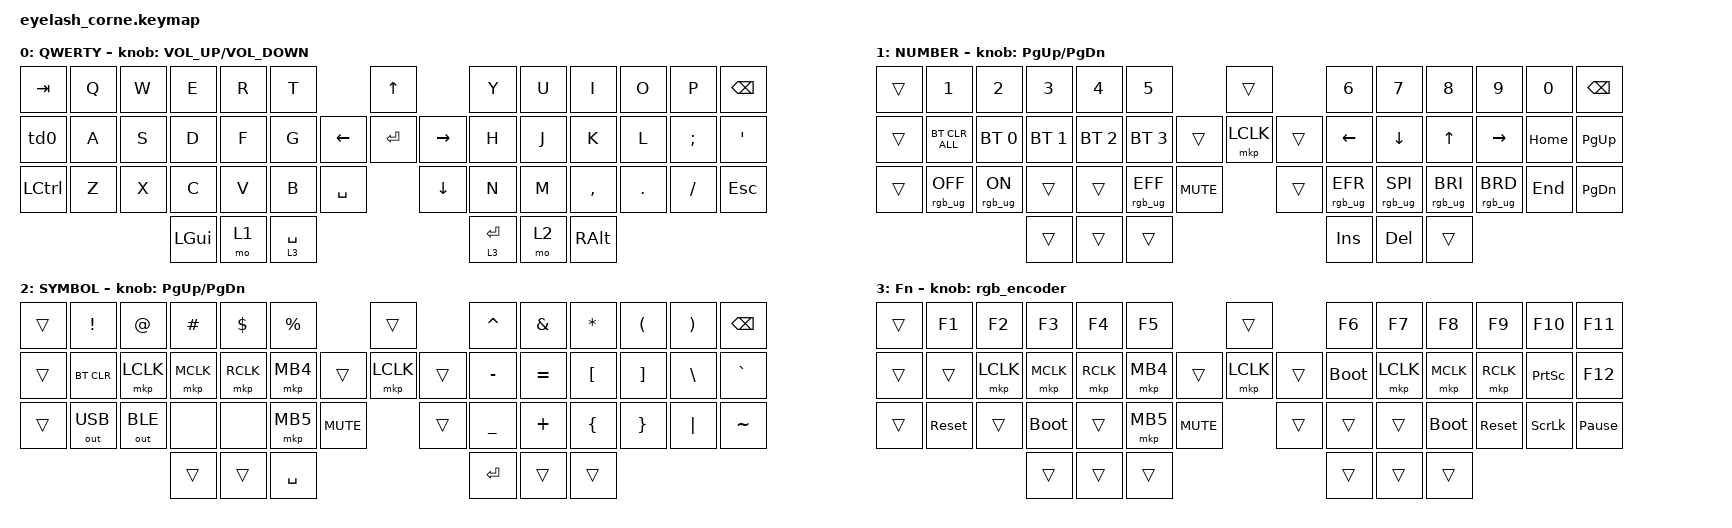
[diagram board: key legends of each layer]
#include <behaviors.dtsi>
#include <dt-bindings/zmk/bt.h>
#include <dt-bindings/zmk/keys.h>
#include <dt-bindings/zmk/mouse.h>
#include <dt-bindings/zmk/outputs.h>
#include <dt-bindings/zmk/rgb.h>

/ {
    behaviors {
        td0: td0 {
            compatible = "zmk,behavior-tap-dance";
            #binding-cells = <0>;
            bindings = <&kp LEFT_SHIFT>, <&kp CAPS>;
        };
    };

    rgb_encoder: rgb_encoder {
        compatible = "zmk,behavior-sensor-rotate";
        #sensor-binding-cells = <0>;
        bindings = <&rgb_ug RGB_BRI>, <&rgb_ug RGB_BRD>;
    };

    keymap {
        compatible = "zmk,keymap";

        default_layer {
            display-name = "QWERTY";

            bindings = <
//        ┌──────┬───┬───┬──────┬──────┬──────────┐            ┌──────┐      ┌──────────┬──────┬──────┬───┬───┬──────┐
//        │ tab  │ Q │ W │  E   │  R   │    T     │            │  up  │      │    Y     │  U   │  I   │ O │ P │ bspc │
//        ├──────┼───┼───┼──────┼──────┼──────────┤     ┌──────┼──────┼──────┼──────────┼──────┼──────┼───┼───┼──────┤
//        │ &td0 │ A │ S │  D   │  F   │    G     │     │ left │ ent  │ rght │    H     │  J   │  K   │ L │ ; │  '   │
//        ├──────┼───┼───┼──────┼──────┼──────────┼─────┼──────┼──────┼──────┼──────────┼──────┼──────┼───┼───┼──────┤
//        │ lctl │ Z │ X │  C   │  V   │    B     │ spc │      │ down │      │    N     │  M   │  ,   │ . │ / │ esc  │
//        └──────┴───┴───┼──────┼──────┼──────────┼─────┘      └──────┘      ├──────────┼──────┼──────┼───┴───┴──────┘
//                       │ lgui │ mo 1 │ lt 3 spc │                          │ lt 3 ent │ mo 2 │ ralt │
//                       └──────┴──────┴──────────┘                          └──────────┴──────┴──────┘
      &kp TAB     &kp Q   &kp W   &kp E      &kp R   &kp T                                &kp UP                  &kp Y         &kp U   &kp I       &kp O     &kp P      &kp BSPC
      &td0        &kp A   &kp S   &kp D      &kp F   &kp G                     &kp LEFT   &kp ENTER   &kp RIGHT   &kp H         &kp J   &kp K       &kp L     &kp SEMI   &kp SQT
      &kp LCTRL   &kp Z   &kp X   &kp C      &kp V   &kp B         &kp SPACE              &kp DOWN                &kp N         &kp M   &kp COMMA   &kp DOT   &kp FSLH   &kp ESC
                                  &kp LGUI   &mo 1   &lt 3 SPACE                                                  &lt 3 ENTER   &mo 2   &kp RALT
            >;

            sensor-bindings = <&inc_dec_kp C_VOLUME_UP C_VOLUME_DOWN>;
        };

        lower_layer {
            display-name = "NUMBER";
            bindings = <
//        ┌─────┬────────────┬──────────┬──────────┬──────────┬──────────┐            ┌──────┐     ┌─────────┬─────────┬─────────┬─────────┬──────┬──────┐
//        │     │     1      │    2     │    3     │    4     │    5     │            │      │     │    6    │    7    │    8    │    9    │  0   │ bspc │
//        ├─────┼────────────┼──────────┼──────────┼──────────┼──────────┤      ┌─────┼──────┼─────┼─────────┼─────────┼─────────┼─────────┼──────┼──────┤
//        │     │ bt_clr_ALL │ bt_sel 0 │ bt_sel 1 │ bt_sel 2 │ bt_sel 3 │      │     │ lclk │     │  left   │  down   │   up    │  rght   │ home │ pgup │
//        ├─────┼────────────┼──────────┼──────────┼──────────┼──────────┼──────┼─────┼──────┼─────┼─────────┼─────────┼─────────┼─────────┼──────┼──────┤
//        │     │  ug_ off   │  ug_ on  │          │          │ ug_ eff  │ mute │     │      │     │ ug_ efr │ ug_ sp+ │ ug_ br+ │ ug_ br- │ end  │ pgdn │
//        └─────┴────────────┴──────────┼──────────┼──────────┼──────────┼──────┘     └──────┘     ├─────────┼─────────┼─────────┼─────────┴──────┴──────┘
//                                      │          │          │          │                         │   ins   │   del   │         │
//                                      └──────────┴──────────┴──────────┘                         └─────────┴─────────┴─────────┘
      &trans   &kp N1            &kp N2           &kp N3         &kp N4         &kp N5                                  &trans               &kp N6            &kp N7            &kp N8            &kp N9            &kp N0     &kp BSPC
      &trans   &bt BT_CLR_ALL    &bt BT_SEL 0     &bt BT_SEL 1   &bt BT_SEL 2   &bt BT_SEL 3                   &trans   &mkp LCLK   &trans   &kp LEFT          &kp DOWN          &kp UP            &kp RIGHT         &kp HOME   &kp PG_UP
      &trans   &rgb_ug RGB_OFF   &rgb_ug RGB_ON   &trans         &trans         &rgb_ug RGB_EFF   &kp C_MUTE            &trans               &rgb_ug RGB_EFR   &rgb_ug RGB_SPI   &rgb_ug RGB_BRI   &rgb_ug RGB_BRD   &kp END    &kp PG_DN
                                                  &trans         &trans         &trans                                                       &kp INS           &kp DEL           &trans
            >;

            sensor-bindings = <&inc_dec_kp PG_UP PG_DN>;
        };

        raise_layer {
            display-name = "SYMBOL";
            bindings = <
//        ┌─────┬──────────┬──────────┬──────┬──────┬──────┐            ┌──────┐     ┌─────┬─────┬─────┬───┬───┬──────┐
//        │     │    !     │    @     │  #   │  $   │  %   │            │      │     │  ^  │  &  │  *  │ ( │ ) │ bspc │
//        ├─────┼──────────┼──────────┼──────┼──────┼──────┤      ┌─────┼──────┼─────┼─────┼─────┼─────┼───┼───┼──────┤
//        │     │  bt_clr  │   lclk   │ mclk │ rclk │ mbck │      │     │ lclk │     │  -  │  =  │  [  │ ] │ \ │  `   │
//        ├─────┼──────────┼──────────┼──────┼──────┼──────┼──────┼─────┼──────┼─────┼─────┼─────┼─────┼───┼───┼──────┤
//        │     │ out_ usb │ out_ ble │      │      │ mfwd │ mute │     │      │     │  _  │  +  │  {  │ } │ | │  ~   │
//        └─────┴──────────┴──────────┼──────┼──────┼──────┼──────┘     └──────┘     ├─────┼─────┼─────┼───┴───┴──────┘
//                                    │      │      │ spc  │                         │ ent │     │     │
//                                    └──────┴──────┴──────┘                         └─────┴─────┴─────┘
      &trans   &kp EXCL       &kp AT         &kp HASH    &kp DLLR    &kp PRCNT                         &trans               &kp CARET   &kp AMPS    &kp ASTRK   &kp LPAR   &kp RPAR   &kp BSPC
      &trans   &bt BT_CLR     &mkp LCLK      &mkp MCLK   &mkp RCLK   &mkp MB4                 &trans   &mkp LCLK   &trans   &kp MINUS   &kp EQUAL   &kp LBKT    &kp RBKT   &kp BSLH   &kp GRAVE
      &trans   &out OUT_USB   &out OUT_BLE   &none       &none       &mkp MB5    &kp C_MUTE            &trans               &kp UNDER   &kp PLUS    &kp LBRC    &kp RBRC   &kp PIPE   &kp TILDE
                                             &trans      &trans      &kp SPACE                                              &kp RET     &trans      &trans
            >;

            sensor-bindings = <&inc_dec_kp PG_UP PG_DN>;
        };

        layer_3 {
            display-name = "Fn";
            bindings = <
//        ┌─────┬────────────┬──────┬──────┬──────┬──────┐            ┌──────┐     ┌──────┬──────┬──────┬────────────┬──────┬──────┐
//        │     │     f1     │  f2  │  f3  │  f4  │  f5  │            │      │     │  f6  │  f7  │  f8  │     f9     │ f10  │ f11  │
//        ├─────┼────────────┼──────┼──────┼──────┼──────┤      ┌─────┼──────┼─────┼──────┼──────┼──────┼────────────┼──────┼──────┤
//        │     │            │ lclk │ mclk │ rclk │ mbck │      │     │ lclk │     │ boot │ lclk │ mclk │    rclk    │ pscr │ f12  │
//        ├─────┼────────────┼──────┼──────┼──────┼──────┼──────┼─────┼──────┼─────┼──────┼──────┼──────┼────────────┼──────┼──────┤
//        │     │ &sys_reset │      │ boot │      │ mfwd │ mute │     │      │     │      │      │ boot │ &sys_reset │ slck │ paus │
//        └─────┴────────────┴──────┼──────┼──────┼──────┼──────┘     └──────┘     ├──────┼──────┼──────┼────────────┴──────┴──────┘
//                                  │      │      │      │                         │      │      │      │
//                                  └──────┴──────┴──────┘                         └──────┴──────┴──────┘
      &trans   &kp F1       &kp F2      &kp F3        &kp F4      &kp F5                           &trans               &kp F6        &kp F7      &kp F8        &kp F9       &kp F10           &kp F11
      &trans   &trans       &mkp LCLK   &mkp MCLK     &mkp RCLK   &mkp MB4                &trans   &mkp LCLK   &trans   &bootloader   &mkp LCLK   &mkp MCLK     &mkp RCLK    &kp PRINTSCREEN   &kp F12
      &trans   &sys_reset   &trans      &bootloader   &trans      &mkp MB5   &kp C_MUTE            &trans               &trans        &trans      &bootloader   &sys_reset   &kp SCROLLLOCK    &kp PAUSE_BREAK
                                        &trans        &trans      &trans                                                &trans        &trans      &trans
            >;

            sensor-bindings = <&rgb_encoder>;
        };
    };
};
